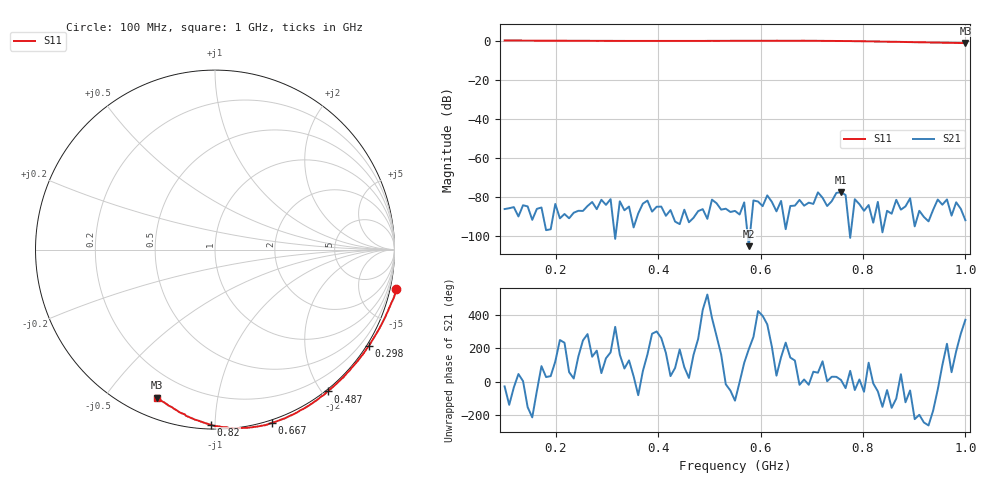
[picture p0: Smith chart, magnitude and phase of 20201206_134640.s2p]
# HZ S RI R 50
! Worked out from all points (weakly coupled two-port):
!   101 points, 100 MHz to 1 GHz, reference 50 ohm
!   highest |S21| = -77.33 dB at 757 MHz (marker M1); lowest = -105.0 dB at 577 MHz (marker M2)
!   lowest |S11| = -1.0 dB at 1 GHz (marker M3), VSWR 16.63, Z = 4.4 - j33.9 ohm
!   |S11| at or under -10 dB: nowhere
!   S12 and S22 are empty: the file has one direction only
!   S11 on the Smith chart (normalised r, x): 100 MHz: -1.33, -9.14; 298 MHz: -0.07, -3.48; 487 MHz: -0.02, -2.07; 667 MHz: -0.02, -1.38; 820 MHz: 0.02, -0.98; 1 GHz: 0.09, -0.68
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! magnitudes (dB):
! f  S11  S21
! 100 MHz  0.3  -86.0
! 253 MHz  0.1  -87.0
! 298 MHz  0.1  -83.9
! 406 MHz  0.1  -84.7
! 487 MHz  0.1  -86.0
! 550 MHz  0.1  -86.9
! 577 MHz  0.1  -105.0
! 604 MHz  0.1  -84.5
! 613 MHz  0.1  -79.0
! 622 MHz  0.1  -82.3
! 667 MHz  0.1  -84.2
! 703 MHz  0.1  -83.4
! 712 MHz  0.1  -77.4
! 721 MHz  0.1  -80.2
! 739 MHz  0.1  -82.0
! 748 MHz  0.0  -77.7
! 757 MHz  0.0  -77.3
! 766 MHz  0.0  -78.8
! 775 MHz  0.0  -100.8
! 820 MHz  -0.2  -93.0
! 856 MHz  -0.4  -88.4
! 1 GHz  -1.0  -91.7
